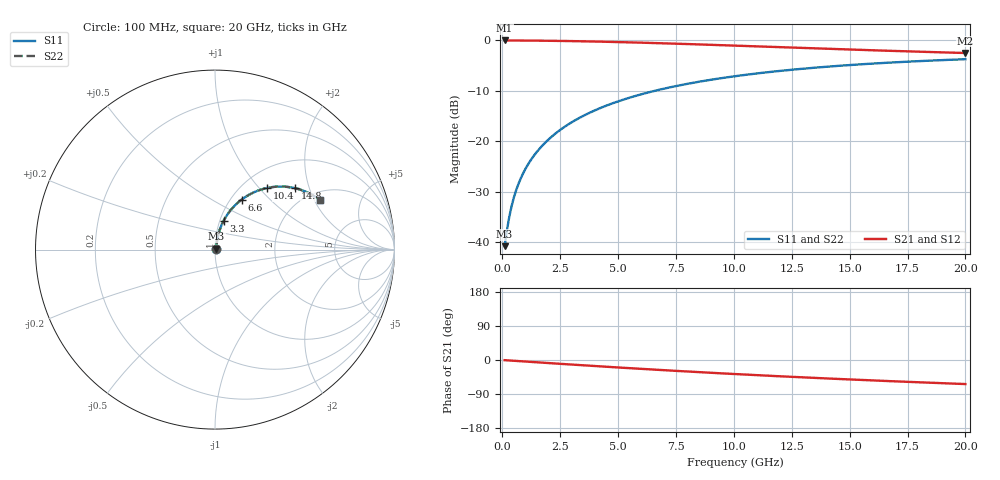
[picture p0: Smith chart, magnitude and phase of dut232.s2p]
! Touchstone file exported from HFSS 2026.1.0
!  File:  C:/ffzhzh/LocalFiles/Ansys_Project_Files/temp_train_TMRDL_232_1782984517_40604.aedt
!  Generated:  05:30:06 PM Jul  2, 2026
!  Design:  TMRDL
!  Project:  temp_train_TMRDL_232_1782984517_40604
! Variables:
!  h_bsmrdl = 2um
!  h_ox = 20um
!  h_rdl = 5um
!  h_sub = 80um
!  h_tmrdl = 4.48um
!  h_tsv = 80um
!  h_via = 3um
!  l_bsmrdl = 300um
!  l_sub = 1348.32um
!  l_tmrdl = 948.32um
!  m_sub = 200um
!  pitch = 48.59um
!  r_tsv = 6um
!  s_tmrdl = 10um
!  w_bsmrdl = 18um
!  w_sub = 500um
!  w_tmrdl = 10.09um
!  x_tsv_center1 = 953.365um
!  x_tsv_center2 = 1271.365um
!  x_tsv_center3 = 2229.775um
!  x_tsv_center4 = 2547.775um
!  x_tsv_center5 = 3506.185um
!  x_tsv_center6 = 3824.185um
# GHz S MA R 50.000000
! Terminal data exported
! Port[1] = TM_RDL1_1_T1
! Port[2] = TM_RDL1_1_T2
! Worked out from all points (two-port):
!   200 points, 100 MHz to 20 GHz, reference 50 ohm
!   highest |S21| = -0.06 dB at 100 MHz (marker M1); lowest = -2.5 dB at 20 GHz (marker M2)
!   |S21| within 3 dB of the highest: start of sweep to end of sweep
!   lowest |S11| = -40.8 dB at 100 MHz (marker M3), VSWR 1.02, Z = 50.7 + j0.539 ohm
!   |S11| at or under -10 dB: start of sweep to 6.624 GHz
!   |S22| runs from -40.8 to -3.8 dB; largest |S21 - S12| = 3.5e-15
!   S11 on the Smith chart (normalised r, x): 100 MHz: 1.01, +0.01; 3.3 GHz: 1.04, +0.35; 6.6 GHz: 1.12, +0.69; 10.4 GHz: 1.28, +1.11; 14.8 GHz: 1.61, +1.61; 20 GHz: 2.35, +2.22
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0.1  0.009088 35.8  0.9927 -0.4  0.9927 -0.4  0.009088 35.8
! Gamma 0 0 0 0
! Port Impedance 50 0 50 0
0.2  0.01302 54.5  0.9925 -0.8  0.9925 -0.8  0.01302 54.5
0.3  0.01768 63.6  0.9924 -1.2  0.9924 -1.2  0.01768 63.6
0.4  0.02259 68.6  0.9921 -1.7  0.9921 -1.7  0.0226 68.6
0.5  0.0276 71.7  0.9919 -2.1  0.9919 -2.1  0.0276 71.7
0.6  0.03265 73.6  0.9917 -2.5  0.9917 -2.5  0.03265 73.6
0.8  0.04282 75.9  0.9911 -3.3  0.9911 -3.3  0.04282 75.9
1.1  0.05812 77.4  0.9901 -4.5  0.9901 -4.5  0.05812 77.4
1.5  0.07852 77.7  0.9884 -6.1  0.9884 -6.1  0.07852 77.7
2  0.1039 77.0  0.9857 -8.1  0.9857 -8.1  0.1039 77.0
2.6  0.1339 75.5  0.9816 -10.5  0.9816 -10.5  0.1339 75.5
3.3  0.1682 73.3  0.9757 -13.2  0.9757 -13.2  0.1682 73.3
3.5  0.1778 72.7  0.9738 -14.0  0.9738 -14.0  0.1778 72.7
4.9  0.2428 67.9  0.9583 -19.4  0.9583 -19.4  0.2428 67.8
6.6  0.3152 62.0  0.9355 -25.5  0.9355 -25.5  0.3152 62.0
6.8  0.3233 61.3  0.9326 -26.3  0.9326 -26.3  0.3233 61.3
10.1  0.4407 50.7  0.8816 -37.2  0.8816 -37.2  0.4407 50.7
10.4  0.4499 49.8  0.8768 -38.2  0.8768 -38.2  0.4499 49.7
13.4  0.5311 41.2  0.8303 -47.0  0.8303 -47.0  0.5311 41.2
14.8  0.5622 37.5  0.8098 -50.8  0.8098 -50.8  0.5622 37.4
16.7  0.5984 32.7  0.784 -55.7  0.784 -55.7  0.5984 32.7
20  0.6471 25.1  0.7456 -63.5  0.7456 -63.5  0.6471 25.1
